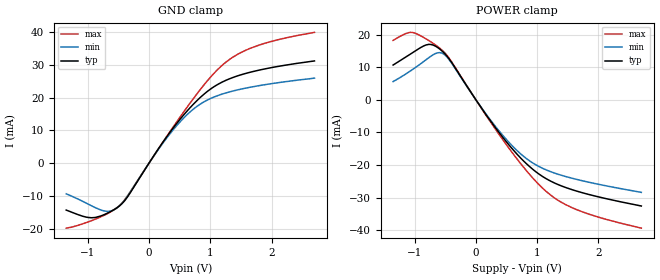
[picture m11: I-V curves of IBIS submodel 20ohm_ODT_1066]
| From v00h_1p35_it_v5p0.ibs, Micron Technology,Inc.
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| SUBMODEL 20ohm_ODT_1066
[Submodel]   20ohm_ODT_1066
Submodel_type  Dynamic_clamp
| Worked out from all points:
|   POWER clamp passes 1 mA (typ) near -0.03 V on its own axis
[GND Clamp]
|   Voltage   I(typ)   I(min)   I(max)
-1.35V    -14.3mA    -9.347mA   -19.81mA
-940mV    -16.65mA   -12.98mA   -17.55mA
-695mV    -15.39mA   -14.67mA   -15.56mA
-550mV    -13.95mA   -14mA      -13.95mA
-360mV    -10.54mA   -10.29mA   -10.24mA
225mV     6.336mA    6.056mA    6.357mA
570mV     14.79mA    13.84mA    15.72mA
925mV     21.46mA    18.98mA    24.5mA
1.26V     25.3mA     21.44mA    30.87mA
1.495V    26.91mA    22.55mA    33.68mA
1.79V     28.34mA    23.62mA    35.96mA
2.7V      31.17mA    25.92mA    39.88mA
[POWER Clamp]
|   Voltage   I(typ)   I(min)   I(max)
-1.35V    10.66mA    5.581mA    18.23mA
-1.015V   14.66mA    9.522mA    20.59mA
-755mV    17mA       13.09mA    18.03mA
-630mV    16.11mA    14.38mA    16.44mA
-540mV    14.77mA    14.21mA    15.02mA
-430mV    12.39mA    12.16mA    12.61mA
150mV     -4.134mA   -3.976mA   -4.301mA
465mV     -12.13mA   -11.49mA   -12.92mA
795mV     -19.08mA   -17.61mA   -21.08mA
1.145V    -24.2mA    -21.5mA    -28.09mA
1.645V    -28.03mA   -24.45mA   -33.73mA
2.7V      -32.61mA   -28.42mA   -39.4mA
